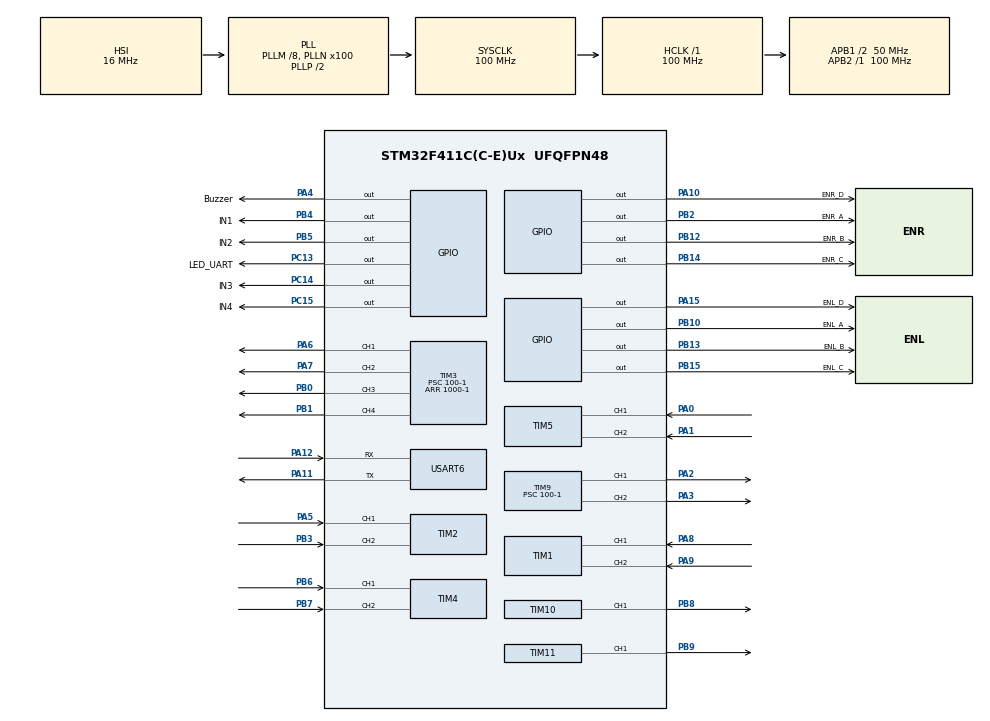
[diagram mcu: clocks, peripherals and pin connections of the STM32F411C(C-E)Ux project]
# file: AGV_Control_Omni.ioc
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Mcu.Family=STM32F4
Mcu.Name=STM32F411C(C-E)Ux
Mcu.Package=UFQFPN48
NVIC.PriorityGroup=NVIC_PRIORITYGROUP_4
NVIC.TIM1_CC_IRQn=true\:0\:0\:false\:false\:true\:true\:true\:true
NVIC.TIM2_IRQn=true\:0\:0\:false\:false\:true\:true\:true\:true
NVIC.TIM4_IRQn=true\:0\:0\:false\:false\:true\:true\:true\:true
NVIC.TIM5_IRQn=true\:0\:0\:false\:false\:true\:true\:true\:true
NVIC.USART6_IRQn=true\:0\:0\:false\:false\:true\:true\:true\:true
PA0-WKUP.Signal=S_TIM5_CH1
PA1.Signal=S_TIM5_CH2
PA10.GPIO_Label=ENR_D
PA10.Signal=GPIO_Output
PA11.Mode=Asynchronous
PA11.Signal=USART6_TX
PA12.Mode=Asynchronous
PA12.Signal=USART6_RX
PA13.Mode=Serial_Wire
PA13.Signal=SYS_JTMS-SWDIO
PA14.Mode=Serial_Wire
PA14.Signal=SYS_JTCK-SWCLK
PA15.GPIO_Label=ENL_D
PA15.Signal=GPIO_Output
PA2.Signal=S_TIM9_CH1
PA3.Signal=S_TIM9_CH2
PA4.GPIO_Label=Buzzer
PA4.Signal=GPIO_Output
PA5.Signal=S_TIM2_CH1_ETR
PA6.Signal=S_TIM3_CH1
PA7.Signal=S_TIM3_CH2
PA8.Signal=S_TIM1_CH1
PA9.Signal=S_TIM1_CH2
PB0.Signal=S_TIM3_CH3
PB1.Signal=S_TIM3_CH4
PB10.GPIO_Label=ENL_A
PB10.Signal=GPIO_Output
PB12.GPIO_Label=ENR_B
PB12.Signal=GPIO_Output
PB13.GPIO_Label=ENL_B
PB13.Signal=GPIO_Output
PB14.GPIO_Label=ENR_C
PB14.Signal=GPIO_Output
PB15.GPIO_Label=ENL_C
PB15.Signal=GPIO_Output
PB2.GPIO_Label=ENR_A
PB2.Signal=GPIO_Output
PB3.Signal=S_TIM2_CH2
PB4.GPIO_Label=IN1
PB4.Signal=GPIO_Output
PB5.GPIO_Label=IN2
PB5.Signal=GPIO_Output
PB6.Signal=S_TIM4_CH1
PB7.Signal=S_TIM4_CH2
PB8.Signal=S_TIM10_CH1
PB9.Signal=S_TIM11_CH1
PC13-ANTI_TAMP.GPIO_Label=LED_UART
PC13-ANTI_TAMP.Signal=GPIO_Output
PC14-OSC32_IN.GPIO_Label=IN3
PC14-OSC32_IN.Signal=GPIO_Output
PC15-OSC32_OUT.GPIO_Label=IN4
PC15-OSC32_OUT.Signal=GPIO_Output
PH0\ -\ OSC_IN.Mode=HSE-External-Oscillator
PH0\ -\ OSC_IN.Signal=RCC_OSC_IN
PH1\ -\ OSC_OUT.Mode=HSE-External-Oscillator
PH1\ -\ OSC_OUT.Signal=RCC_OSC_OUT
ProjectManager.HeapSize=0x200
ProjectManager.StackSize=0x400
ProjectManager.TargetToolchain=MDK-ARM V5.32
RCC.48MHZClocksFreq_Value=50000000
RCC.AHBFreq_Value=100000000
RCC.APB1CLKDivider=RCC_HCLK_DIV2
RCC.APB1Freq_Value=50000000
RCC.APB1TimFreq_Value=100000000
RCC.APB2Freq_Value=100000000
RCC.APB2TimFreq_Value=100000000
RCC.CortexFreq_Value=100000000
RCC.HCLKFreq_Value=100000000
RCC.HSE_VALUE=25000000
RCC.HSI_VALUE=16000000
RCC.LSE_VALUE=32768
RCC.PLLM=8
RCC.PLLN=100
RCC.SYSCLKFreq_VALUE=100000000
RCC.SYSCLKSource=RCC_SYSCLKSOURCE_PLLCLK
RCC.VCOOutputFreq_Value=200000000
SH.S_TIM10_CH1.0=TIM10_CH1,PWM Generation1 CH1
SH.S_TIM11_CH1.0=TIM11_CH1,PWM Generation1 CH1
SH.S_TIM1_CH1.0=TIM1_CH1,Encoder_Interface
SH.S_TIM1_CH2.0=TIM1_CH2,Encoder_Interface
SH.S_TIM2_CH1_ETR.0=TIM2_CH1,Encoder_Interface
SH.S_TIM2_CH2.0=TIM2_CH2,Encoder_Interface
SH.S_TIM3_CH1.0=TIM3_CH1,PWM Generation1 CH1
SH.S_TIM3_CH2.0=TIM3_CH2,PWM Generation2 CH2
SH.S_TIM3_CH3.0=TIM3_CH3,PWM Generation3 CH3
SH.S_TIM3_CH4.0=TIM3_CH4,PWM Generation4 CH4
SH.S_TIM4_CH1.0=TIM4_CH1,Encoder_Interface
SH.S_TIM4_CH2.0=TIM4_CH2,Encoder_Interface
SH.S_TIM5_CH1.0=TIM5_CH1,Encoder_Interface
SH.S_TIM5_CH2.0=TIM5_CH2,Encoder_Interface
SH.S_TIM9_CH1.0=TIM9_CH1,PWM Generation1 CH1
SH.S_TIM9_CH2.0=TIM9_CH2,PWM Generation2 CH2
TIM1.EncoderMode=TIM_ENCODERMODE_TI12
TIM1.IC1Polarity=TIM_ICPOLARITY_FALLING
TIM1.IC2Polarity=TIM_ICPOLARITY_FALLING
TIM10.Channel=TIM_CHANNEL_1
TIM10.Period=1000-1
TIM10.Prescaler=100-1
TIM11.Channel=TIM_CHANNEL_1
TIM11.Period=1000-1
TIM11.Prescaler=100-1
TIM2.EncoderMode=TIM_ENCODERMODE_TI12
TIM2.IC1Polarity=TIM_ICPOLARITY_FALLING
TIM2.IC2Polarity=TIM_ICPOLARITY_FALLING
TIM3.Channel-PWM\ Generation1\ CH1=TIM_CHANNEL_1
TIM3.Channel-PWM\ Generation2\ CH2=TIM_CHANNEL_2
TIM3.Channel-PWM\ Generation3\ CH3=TIM_CHANNEL_3
TIM3.Channel-PWM\ Generation4\ CH4=TIM_CHANNEL_4
TIM3.Period=1000-1
TIM3.Prescaler=100-1
TIM4.EncoderMode=TIM_ENCODERMODE_TI12
TIM4.IC1Polarity=TIM_ICPOLARITY_FALLING
TIM4.IC2Polarity=TIM_ICPOLARITY_FALLING
TIM5.EncoderMode=TIM_ENCODERMODE_TI12
TIM9.Channel-PWM\ Generation1\ CH1=TIM_CHANNEL_1
TIM9.Channel-PWM\ Generation2\ CH2=TIM_CHANNEL_2
TIM9.Period=1000-1
TIM9.Prescaler=100-1
USART6.VirtualMode=VM_ASYNC
VP_TIM10_VS_ClockSourceINT.Mode=Enable_Timer
VP_TIM11_VS_ClockSourceINT.Mode=Enable_Timer
VP_TIM3_VS_ClockSourceINT.Mode=Internal
VP_TIM9_VS_ClockSourceINT.Mode=Internal
board=custom

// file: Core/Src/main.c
/* USER CODE BEGIN Header */
/**
  ******************************************************************************
  * @file           : main.c
  * @brief          : Main program body
  ******************************************************************************
  * @attention
  *
  * Copyright (c) 2023 STMicroelectronics.
  * All rights reserved.
  *
  * This software is licensed under terms that can be found in the LICENSE file
  * in the root directory of this software component.
  * If no LICENSE file comes with this software, it is provided AS-IS.
  *
  ******************************************************************************
  */
/* USER CODE END Header */
#include "main.h"

/* USER CODE BEGIN Includes */
#include "Komunikasi.h"
/* USER CODE END Includes */

TIM_HandleTypeDef htim1;
TIM_HandleTypeDef htim2;
TIM_HandleTypeDef htim3;
TIM_HandleTypeDef htim4;
TIM_HandleTypeDef htim5;
TIM_HandleTypeDef htim9;
TIM_HandleTypeDef htim10;
TIM_HandleTypeDef htim11;

UART_HandleTypeDef huart6;

/* USER CODE BEGIN PV */
//---------------- MOTOR DECLARATION ---------------------//
extern motor_t motor_A, motor_B, motor_C, motor_D;

//---------------- ENCODER DECLARATION ---------------------//
extern encoder_t encoder_A, encoder_B, encoder_C, encoder_D;
/* USER CODE END PV */

void SystemClock_Config(void);
static void MX_GPIO_Init(void);
static void MX_TIM1_Init(void);
static void MX_TIM2_Init(void);
static void MX_TIM3_Init(void);
static void MX_TIM4_Init(void);
static void MX_TIM5_Init(void);
static void MX_TIM9_Init(void);
static void MX_TIM10_Init(void);
static void MX_TIM11_Init(void);
static void MX_USART6_UART_Init(void);

/* USER CODE BEGIN 0 */
uint32_t vt = 0;
com_get_t msg;
void HAL_TIM_IC_CaptureCallback(TIM_HandleTypeDef *htim)
{
	if(htim->Instance  == TIM1){
		encoder_A.counter  	= __HAL_TIM_GET_COUNTER(htim);
		encoder_A.counts 		= (int16_t)encoder_A.counter;
		encoder_A.position	= encoder_A.counts/4;
	}
	if(htim->Instance  == TIM2){
		encoder_B.counter  	= __HAL_TIM_GET_COUNTER(htim);
		encoder_B.counts 		= (int16_t)encoder_B.counter;
		encoder_B.position	= encoder_B.counts/4;
	}
	if(htim->Instance  == TIM4){
		encoder_C.counter  	= __HAL_TIM_GET_COUNTER(htim);
		encoder_C.counts 		= (int16_t)encoder_C.counter;
		encoder_C.position	= encoder_C.counts/4;
	}
	if(htim->Instance  == TIM5){
		encoder_D.counter  	= __HAL_TIM_GET_COUNTER(htim);
		encoder_D.counts 		= (int16_t)encoder_D.counter;
		encoder_D.position	= encoder_D.counts/4;
	}
}
void HAL_UART_RxCpltCallback(UART_HandleTypeDef *huart)
{
	rx_get(&msg);
	HAL_GPIO_TogglePin(GPIOC, GPIO_PIN_13);
}

/* USER CODE END 0 */

int main(void)
{

  /* MCU Configuration--------------------------------------------------------*/

  /* Reset of all peripherals, Initializes the Flash interface and the Systick. */
  HAL_Init();

  /* Configure the system clock */
  SystemClock_Config();

  /* Initialize all configured peripherals */
  MX_GPIO_Init();
  MX_TIM1_Init();
  MX_TIM2_Init();
  MX_TIM3_Init();
  MX_TIM4_Init();
  MX_TIM5_Init();
  MX_TIM9_Init();
  MX_TIM10_Init();
  MX_TIM11_Init();
  MX_USART6_UART_Init();
  /* USER CODE BEGIN 2 */

	//+++++++++++++++++++++++++++++++++ MOTOR INITIALIZATION +++++++++++++++++++++++++++++//
	// Configuration 'Motor A'
	motor_A.tim_R = &htim3;
	motor_A.tim_L = &htim3;
	motor_A.tim_number_R = TIM3;
	motor_A.tim_number_L = TIM3;
	motor_A.channel_R = 3;
	motor_A.channel_L = 4;
	motor_A.EN_PORT_R = ENR_A_GPIO_Port;
	motor_A.EN_PORT_L = ENL_A_GPIO_Port;
	motor_A.EN_PIN_R = ENR_A_Pin;
	motor_A.EN_PIN_L = ENL_A_Pin;

	// Configuration 'Motor B'
	motor_B.tim_R = &htim3;
	motor_B.tim_L = &htim3;
	motor_B.tim_number_R = TIM3;
	motor_B.tim_number_L = TIM3;
	motor_B.channel_R = 1;
	motor_B.channel_L = 2;
	motor_B.EN_PORT_R = ENR_B_GPIO_Port;
	motor_B.EN_PORT_L = ENL_B_GPIO_Port;
	motor_B.EN_PIN_R = ENR_B_Pin;
	motor_B.EN_PIN_L = ENL_B_Pin;

	// Configuration 'Motor C'
	motor_C.tim_R = &htim9;
	motor_C.tim_L = &htim9;
	motor_C.tim_number_R = TIM9;
	motor_C.tim_number_L = TIM9;
	motor_C.channel_R = 1;
	motor_C.channel_L = 2;
	motor_C.EN_PORT_R = ENR_C_GPIO_Port;
	motor_C.EN_PORT_L = ENL_C_GPIO_Port;
	motor_C.EN_PIN_R = ENR_C_Pin;
	motor_C.EN_PIN_L = ENL_C_Pin;

	// Configuration 'Motor D'
	motor_D.tim_R = &htim10;
	motor_D.tim_L = &htim11;
	motor_D.tim_number_R = TIM10;
	motor_D.tim_number_L = TIM11;
	motor_D.channel_R = 1;
	motor_D.channel_L = 1;
	motor_D.EN_PORT_R = ENR_D_GPIO_Port;
	motor_D.EN_PORT_L = ENL_D_GPIO_Port;
	motor_D.EN_PIN_R = ENR_D_Pin;
	motor_D.EN_PIN_L = ENL_D_Pin;

	//+++++++++++++++++++++++++++++++++ ENCODER INITIALIZATION ++++++++++++++++++++++++++++++//
	agv_encoder_start(encoder_A, &htim1, TIM1);
	agv_encoder_start(encoder_B, &htim2, TIM2);
	agv_encoder_start(encoder_C, &htim4, TIM4);
	agv_encoder_start(encoder_D, &htim5, TIM5);

	//+++++++++++++++++++++++++++++++++ ENCODER TO MOTOR ++++++++++++++++++++++++++++++++++++//
	motor_A.ENC = encoder_A;
	motor_B.ENC = encoder_B;
	motor_C.ENC = encoder_C;
	motor_D.ENC = encoder_D;

	//+++++++++++++++++++++++++++++++++ COM START +++++++++++++++++++++++++++++++++++++++++++//
	komunikasi_init(&huart6);
	rx_start_get();
  /* USER CODE END 2 */

  /* Infinite loop */
  /* USER CODE BEGIN WHILE */
  while (1)
  {
		tx_ping();
		HAL_Delay(100);
//		HAL_GPIO_WritePin(IN1_GPIO_Port, IN1_Pin, GPIO_PIN_SET);
//		HAL_Delay(1000);
//		HAL_GPIO_WritePin(IN1_GPIO_Port, IN1_Pin, GPIO_PIN_RESET);
//		HAL_Delay(1000);
    /* USER CODE END WHILE */

  }
}

void SystemClock_Config(void)
{
  RCC_OscInitTypeDef RCC_OscInitStruct = {0};
  RCC_ClkInitTypeDef RCC_ClkInitStruct = {0};

  /** Configure the main internal regulator output voltage
  */
  __HAL_RCC_PWR_CLK_ENABLE();
  __HAL_PWR_VOLTAGESCALING_CONFIG(PWR_REGULATOR_VOLTAGE_SCALE1);

  /** Initializes the RCC Oscillators according to the specified parameters
  * in the RCC_OscInitTypeDef structure.
  */
  RCC_OscInitStruct.OscillatorType = RCC_OSCILLATORTYPE_HSI;
  RCC_OscInitStruct.HSIState = RCC_HSI_ON;
  RCC_OscInitStruct.HSICalibrationValue = RCC_HSICALIBRATION_DEFAULT;
  RCC_OscInitStruct.PLL.PLLState = RCC_PLL_ON;
  RCC_OscInitStruct.PLL.PLLSource = RCC_PLLSOURCE_HSI;
  RCC_OscInitStruct.PLL.PLLM = 8;
  RCC_OscInitStruct.PLL.PLLN = 100;
  RCC_OscInitStruct.PLL.PLLP = RCC_PLLP_DIV2;
  RCC_OscInitStruct.PLL.PLLQ = 4;
  if (HAL_RCC_OscConfig(&RCC_OscInitStruct) != HAL_OK)
  {
    Error_Handler();
  }

  /** Initializes the CPU, AHB and APB buses clocks
  */
  RCC_ClkInitStruct.ClockType = RCC_CLOCKTYPE_HCLK|RCC_CLOCKTYPE_SYSCLK
                              |RCC_CLOCKTYPE_PCLK1|RCC_CLOCKTYPE_PCLK2;
  RCC_ClkInitStruct.SYSCLKSource = RCC_SYSCLKSOURCE_PLLCLK;
  RCC_ClkInitStruct.AHBCLKDivider = RCC_SYSCLK_DIV1;
  RCC_ClkInitStruct.APB1CLKDivider = RCC_HCLK_DIV2;
  RCC_ClkInitStruct.APB2CLKDivider = RCC_HCLK_DIV1;

  if (HAL_RCC_ClockConfig(&RCC_ClkInitStruct, FLASH_LATENCY_3) != HAL_OK)
  {
    Error_Handler();
  }
}

static void MX_TIM1_Init(void)
{

  TIM_Encoder_InitTypeDef sConfig = {0};
  TIM_MasterConfigTypeDef sMasterConfig = {0};

  htim1.Instance = TIM1;
  htim1.Init.Prescaler = 0;
  htim1.Init.CounterMode = TIM_COUNTERMODE_UP;
  htim1.Init.Period = 65535;
  htim1.Init.ClockDivision = TIM_CLOCKDIVISION_DIV1;
  htim1.Init.RepetitionCounter = 0;
  htim1.Init.AutoReloadPreload = TIM_AUTORELOAD_PRELOAD_DISABLE;
  sConfig.EncoderMode = TIM_ENCODERMODE_TI12;
  sConfig.IC1Polarity = TIM_ICPOLARITY_FALLING;
  sConfig.IC1Selection = TIM_ICSELECTION_DIRECTTI;
  sConfig.IC1Prescaler = TIM_ICPSC_DIV1;
  sConfig.IC1Filter = 0;
  sConfig.IC2Polarity = TIM_ICPOLARITY_FALLING;
  sConfig.IC2Selection = TIM_ICSELECTION_DIRECTTI;
  sConfig.IC2Prescaler = TIM_ICPSC_DIV1;
  sConfig.IC2Filter = 0;
  if (HAL_TIM_Encoder_Init(&htim1, &sConfig) != HAL_OK)
  {
    Error_Handler();
  }
  sMasterConfig.MasterOutputTrigger = TIM_TRGO_RESET;
  sMasterConfig.MasterSlaveMode = TIM_MASTERSLAVEMODE_DISABLE;
  if (HAL_TIMEx_MasterConfigSynchronization(&htim1, &sMasterConfig) != HAL_OK)
  {
    Error_Handler();
  }

}

static void MX_TIM2_Init(void)
{

  TIM_Encoder_InitTypeDef sConfig = {0};
  TIM_MasterConfigTypeDef sMasterConfig = {0};

  htim2.Instance = TIM2;
  htim2.Init.Prescaler = 0;
  htim2.Init.CounterMode = TIM_COUNTERMODE_UP;
  htim2.Init.Period = 4294967295;
  htim2.Init.ClockDivision = TIM_CLOCKDIVISION_DIV1;
  htim2.Init.AutoReloadPreload = TIM_AUTORELOAD_PRELOAD_DISABLE;
  sConfig.EncoderMode = TIM_ENCODERMODE_TI12;
  sConfig.IC1Polarity = TIM_ICPOLARITY_FALLING;
  sConfig.IC1Selection = TIM_ICSELECTION_DIRECTTI;
  sConfig.IC1Prescaler = TIM_ICPSC_DIV1;
  sConfig.IC1Filter = 0;
  sConfig.IC2Polarity = TIM_ICPOLARITY_FALLING;
  sConfig.IC2Selection = TIM_ICSELECTION_DIRECTTI;
  sConfig.IC2Prescaler = TIM_ICPSC_DIV1;
  sConfig.IC2Filter = 0;
  if (HAL_TIM_Encoder_Init(&htim2, &sConfig) != HAL_OK)
  {
    Error_Handler();
  }
  sMasterConfig.MasterOutputTrigger = TIM_TRGO_RESET;
  sMasterConfig.MasterSlaveMode = TIM_MASTERSLAVEMODE_DISABLE;
  if (HAL_TIMEx_MasterConfigSynchronization(&htim2, &sMasterConfig) != HAL_OK)
  {
    Error_Handler();
  }

}

static void MX_TIM3_Init(void)
{

  TIM_ClockConfigTypeDef sClockSourceConfig = {0};
  TIM_MasterConfigTypeDef sMasterConfig = {0};
  TIM_OC_InitTypeDef sConfigOC = {0};

  htim3.Instance = TIM3;
  htim3.Init.Prescaler = 100-1;
  htim3.Init.CounterMode = TIM_COUNTERMODE_UP;
  htim3.Init.Period = 1000-1;
  htim3.Init.ClockDivision = TIM_CLOCKDIVISION_DIV1;
  htim3.Init.AutoReloadPreload = TIM_AUTORELOAD_PRELOAD_DISABLE;
  if (HAL_TIM_Base_Init(&htim3) != HAL_OK)
  {
    Error_Handler();
  }
  sClockSourceConfig.ClockSource = TIM_CLOCKSOURCE_INTERNAL;
  if (HAL_TIM_ConfigClockSource(&htim3, &sClockSourceConfig) != HAL_OK)
  {
    Error_Handler();
  }
  if (HAL_TIM_PWM_Init(&htim3) != HAL_OK)
  {
    Error_Handler();
  }
  sMasterConfig.MasterOutputTrigger = TIM_TRGO_RESET;
  sMasterConfig.MasterSlaveMode = TIM_MASTERSLAVEMODE_DISABLE;
  if (HAL_TIMEx_MasterConfigSynchronization(&htim3, &sMasterConfig) != HAL_OK)
  {
    Error_Handler();
  }
  sConfigOC.OCMode = TIM_OCMODE_PWM1;
  sConfigOC.Pulse = 0;
  sConfigOC.OCPolarity = TIM_OCPOLARITY_HIGH;
  sConfigOC.OCFastMode = TIM_OCFAST_DISABLE;
  if (HAL_TIM_PWM_ConfigChannel(&htim3, &sConfigOC, TIM_CHANNEL_1) != HAL_OK)
  {
    Error_Handler();
  }
  if (HAL_TIM_PWM_ConfigChannel(&htim3, &sConfigOC, TIM_CHANNEL_2) != HAL_OK)
  {
    Error_Handler();
  }
  if (HAL_TIM_PWM_ConfigChannel(&htim3, &sConfigOC, TIM_CHANNEL_3) != HAL_OK)
  {
    Error_Handler();
  }
  if (HAL_TIM_PWM_ConfigChannel(&htim3, &sConfigOC, TIM_CHANNEL_4) != HAL_OK)
  {
    Error_Handler();
  }
  HAL_TIM_MspPostInit(&htim3);

}

static void MX_TIM4_Init(void)
{

  TIM_Encoder_InitTypeDef sConfig = {0};
  TIM_MasterConfigTypeDef sMasterConfig = {0};

  htim4.Instance = TIM4;
  htim4.Init.Prescaler = 0;
  htim4.Init.CounterMode = TIM_COUNTERMODE_UP;
  htim4.Init.Period = 65535;
  htim4.Init.ClockDivision = TIM_CLOCKDIVISION_DIV1;
  htim4.Init.AutoReloadPreload = TIM_AUTORELOAD_PRELOAD_DISABLE;
  sConfig.EncoderMode = TIM_ENCODERMODE_TI12;
  sConfig.IC1Polarity = TIM_ICPOLARITY_FALLING;
  sConfig.IC1Selection = TIM_ICSELECTION_DIRECTTI;
  sConfig.IC1Prescaler = TIM_ICPSC_DIV1;
  sConfig.IC1Filter = 0;
  sConfig.IC2Polarity = TIM_ICPOLARITY_FALLING;
  sConfig.IC2Selection = TIM_ICSELECTION_DIRECTTI;
  sConfig.IC2Prescaler = TIM_ICPSC_DIV1;
  sConfig.IC2Filter = 0;
  if (HAL_TIM_Encoder_Init(&htim4, &sConfig) != HAL_OK)
  {
    Error_Handler();
  }
  sMasterConfig.MasterOutputTrigger = TIM_TRGO_RESET;
  sMasterConfig.MasterSlaveMode = TIM_MASTERSLAVEMODE_DISABLE;
  if (HAL_TIMEx_MasterConfigSynchronization(&htim4, &sMasterConfig) != HAL_OK)
  {
    Error_Handler();
  }

}

static void MX_TIM5_Init(void)
{

  TIM_Encoder_InitTypeDef sConfig = {0};
  TIM_MasterConfigTypeDef sMasterConfig = {0};

  htim5.Instance = TIM5;
  htim5.Init.Prescaler = 0;
  htim5.Init.CounterMode = TIM_COUNTERMODE_UP;
  htim5.Init.Period = 4294967295;
  htim5.Init.ClockDivision = TIM_CLOCKDIVISION_DIV1;
  htim5.Init.AutoReloadPreload = TIM_AUTORELOAD_PRELOAD_DISABLE;
  sConfig.EncoderMode = TIM_ENCODERMODE_TI12;
  sConfig.IC1Polarity = TIM_ICPOLARITY_RISING;
  sConfig.IC1Selection = TIM_ICSELECTION_DIRECTTI;
  sConfig.IC1Prescaler = TIM_ICPSC_DIV1;
  sConfig.IC1Filter = 0;
  sConfig.IC2Polarity = TIM_ICPOLARITY_RISING;
  sConfig.IC2Selection = TIM_ICSELECTION_DIRECTTI;
  sConfig.IC2Prescaler = TIM_ICPSC_DIV1;
  sConfig.IC2Filter = 0;
  if (HAL_TIM_Encoder_Init(&htim5, &sConfig) != HAL_OK)
  {
    Error_Handler();
  }
  sMasterConfig.MasterOutputTrigger = TIM_TRGO_RESET;
  sMasterConfig.MasterSlaveMode = TIM_MASTERSLAVEMODE_DISABLE;
  if (HAL_TIMEx_MasterConfigSynchronization(&htim5, &sMasterConfig) != HAL_OK)
  {
    Error_Handler();
  }

}

static void MX_TIM9_Init(void)
{

  TIM_ClockConfigTypeDef sClockSourceConfig = {0};
  TIM_OC_InitTypeDef sConfigOC = {0};

  htim9.Instance = TIM9;
  htim9.Init.Prescaler = 100-1;
  htim9.Init.CounterMode = TIM_COUNTERMODE_UP;
  htim9.Init.Period = 1000-1;
  htim9.Init.ClockDivision = TIM_CLOCKDIVISION_DIV1;
  htim9.Init.AutoReloadPreload = TIM_AUTORELOAD_PRELOAD_DISABLE;
  if (HAL_TIM_Base_Init(&htim9) != HAL_OK)
  {
    Error_Handler();
  }
  sClockSourceConfig.ClockSource = TIM_CLOCKSOURCE_INTERNAL;
  if (HAL_TIM_ConfigClockSource(&htim9, &sClockSourceConfig) != HAL_OK)
  {
    Error_Handler();
  }
  if (HAL_TIM_PWM_Init(&htim9) != HAL_OK)
  {
    Error_Handler();
  }
  sConfigOC.OCMode = TIM_OCMODE_PWM1;
  sConfigOC.Pulse = 0;
  sConfigOC.OCPolarity = TIM_OCPOLARITY_HIGH;
  sConfigOC.OCFastMode = TIM_OCFAST_DISABLE;
  if (HAL_TIM_PWM_ConfigChannel(&htim9, &sConfigOC, TIM_CHANNEL_1) != HAL_OK)
  {
    Error_Handler();
  }
  if (HAL_TIM_PWM_ConfigChannel(&htim9, &sConfigOC, TIM_CHANNEL_2) != HAL_OK)
  {
    Error_Handler();
  }
  HAL_TIM_MspPostInit(&htim9);

}

static void MX_TIM10_Init(void)
{

  TIM_OC_InitTypeDef sConfigOC = {0};

  htim10.Instance = TIM10;
  htim10.Init.Prescaler = 100-1;
  htim10.Init.CounterMode = TIM_COUNTERMODE_UP;
  htim10.Init.Period = 1000-1;
  htim10.Init.ClockDivision = TIM_CLOCKDIVISION_DIV1;
  htim10.Init.AutoReloadPreload = TIM_AUTORELOAD_PRELOAD_DISABLE;
  if (HAL_TIM_Base_Init(&htim10) != HAL_OK)
  {
    Error_Handler();
  }
  if (HAL_TIM_PWM_Init(&htim10) != HAL_OK)
  {
    Error_Handler();
  }
  sConfigOC.OCMode = TIM_OCMODE_PWM1;
  sConfigOC.Pulse = 0;
  sConfigOC.OCPolarity = TIM_OCPOLARITY_HIGH;
  sConfigOC.OCFastMode = TIM_OCFAST_DISABLE;
  if (HAL_TIM_PWM_ConfigChannel(&htim10, &sConfigOC, TIM_CHANNEL_1) != HAL_OK)
  {
    Error_Handler();
  }
  HAL_TIM_MspPostInit(&htim10);

}

static void MX_TIM11_Init(void)
{

  TIM_OC_InitTypeDef sConfigOC = {0};

  htim11.Instance = TIM11;
  htim11.Init.Prescaler = 100-1;
  htim11.Init.CounterMode = TIM_COUNTERMODE_UP;
  htim11.Init.Period = 1000-1;
  htim11.Init.ClockDivision = TIM_CLOCKDIVISION_DIV1;
  htim11.Init.AutoReloadPreload = TIM_AUTORELOAD_PRELOAD_DISABLE;
  if (HAL_TIM_Base_Init(&htim11) != HAL_OK)
  {
    Error_Handler();
  }
  if (HAL_TIM_PWM_Init(&htim11) != HAL_OK)
  {
    Error_Handler();
  }
  sConfigOC.OCMode = TIM_OCMODE_PWM1;
  sConfigOC.Pulse = 0;
  sConfigOC.OCPolarity = TIM_OCPOLARITY_HIGH;
  sConfigOC.OCFastMode = TIM_OCFAST_DISABLE;
  if (HAL_TIM_PWM_ConfigChannel(&htim11, &sConfigOC, TIM_CHANNEL_1) != HAL_OK)
  {
    Error_Handler();
  }
  HAL_TIM_MspPostInit(&htim11);

}

static void MX_USART6_UART_Init(void)
{

  huart6.Instance = USART6;
  huart6.Init.BaudRate = 115200;
  huart6.Init.WordLength = UART_WORDLENGTH_8B;
  huart6.Init.StopBits = UART_STOPBITS_1;
  huart6.Init.Parity = UART_PARITY_NONE;
  huart6.Init.Mode = UART_MODE_TX_RX;
  huart6.Init.HwFlowCtl = UART_HWCONTROL_NONE;
  huart6.Init.OverSampling = UART_OVERSAMPLING_16;
  if (HAL_UART_Init(&huart6) != HAL_OK)
  {
    Error_Handler();
  }

}

static void MX_GPIO_Init(void)
{
  GPIO_InitTypeDef GPIO_InitStruct = {0};

  /* GPIO Ports Clock Enable */
  __HAL_RCC_GPIOC_CLK_ENABLE();
  __HAL_RCC_GPIOH_CLK_ENABLE();
  __HAL_RCC_GPIOA_CLK_ENABLE();
  __HAL_RCC_GPIOB_CLK_ENABLE();

  /*Configure GPIO pin Output Level */
  HAL_GPIO_WritePin(GPIOC, LED_UART_Pin|IN3_Pin|IN4_Pin, GPIO_PIN_RESET);

  /*Configure GPIO pin Output Level */
  HAL_GPIO_WritePin(GPIOA, Buzzer_Pin|ENR_D_Pin|ENL_D_Pin, GPIO_PIN_RESET);

  /*Configure GPIO pin Output Level */
  HAL_GPIO_WritePin(GPIOB, ENR_A_Pin|ENL_A_Pin|ENR_B_Pin|ENL_B_Pin
                          |ENR_C_Pin|ENL_C_Pin|IN1_Pin|IN2_Pin, GPIO_PIN_RESET);

  /*Configure GPIO pins : LED_UART_Pin IN3_Pin IN4_Pin */
  GPIO_InitStruct.Pin = LED_UART_Pin|IN3_Pin|IN4_Pin;
  GPIO_InitStruct.Mode = GPIO_MODE_OUTPUT_PP;
  GPIO_InitStruct.Pull = GPIO_NOPULL;
  GPIO_InitStruct.Speed = GPIO_SPEED_FREQ_LOW;
  HAL_GPIO_Init(GPIOC, &GPIO_InitStruct);

  /*Configure GPIO pins : Buzzer_Pin ENR_D_Pin ENL_D_Pin */
  GPIO_InitStruct.Pin = Buzzer_Pin|ENR_D_Pin|ENL_D_Pin;
  GPIO_InitStruct.Mode = GPIO_MODE_OUTPUT_PP;
  GPIO_InitStruct.Pull = GPIO_NOPULL;
  GPIO_InitStruct.Speed = GPIO_SPEED_FREQ_LOW;
  HAL_GPIO_Init(GPIOA, &GPIO_InitStruct);

  /*Configure GPIO pins : ENR_A_Pin ENL_A_Pin ENR_B_Pin ENL_B_Pin
                           ENR_C_Pin ENL_C_Pin IN1_Pin IN2_Pin */
  GPIO_InitStruct.Pin = ENR_A_Pin|ENL_A_Pin|ENR_B_Pin|ENL_B_Pin
                          |ENR_C_Pin|ENL_C_Pin|IN1_Pin|IN2_Pin;
  GPIO_InitStruct.Mode = GPIO_MODE_OUTPUT_PP;
  GPIO_InitStruct.Pull = GPIO_NOPULL;
  GPIO_InitStruct.Speed = GPIO_SPEED_FREQ_LOW;
  HAL_GPIO_Init(GPIOB, &GPIO_InitStruct);

}

void Error_Handler(void)
{
  __disable_irq();
  while (1)
  {
  }
}
